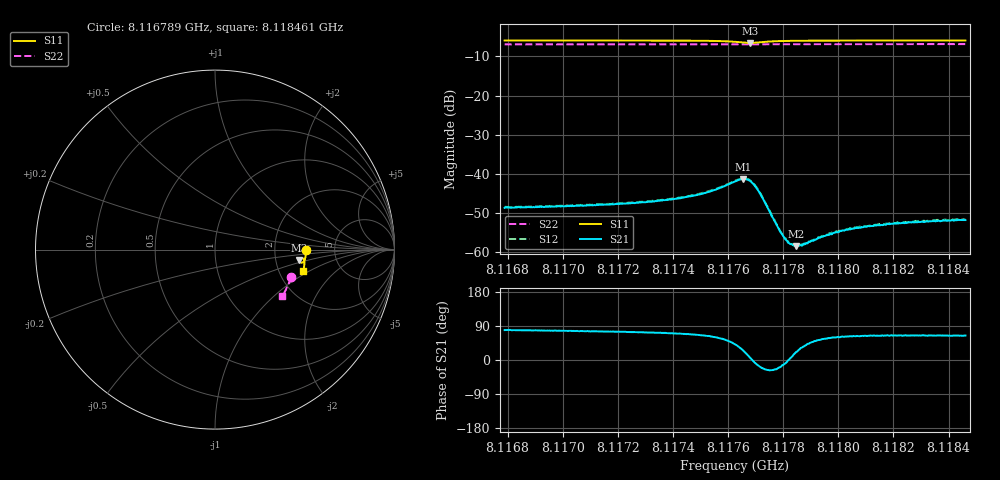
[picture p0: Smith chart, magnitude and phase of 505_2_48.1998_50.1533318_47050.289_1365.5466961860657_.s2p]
#  HZ  S  RI  R  50.00
! Rohde & Schwarz Vector Network Analyzer
! Rohde-Schwarz,ZNB20-2Port,1311601062101988,3.16
! Created: UTC 3/20/2024, 11:58:44 AM
! freq[Hz]  re:S11  im:S11  re:S21  im:S21  re:S12  im:S12  re:S22  im:S22
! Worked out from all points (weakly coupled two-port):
!   401 points, 8.116789 GHz to 8.118461 GHz, reference 50 ohm
!   highest |S21| = -41.29 dB at 8.117655 GHz (marker M1); lowest = -58.4 dB at 8.117847 GHz (marker M2)
!   lowest |S11| = -6.5 dB at 8.11768 GHz (marker M3), VSWR 2.78, Z = 136 - j20.4 ohm
!   |S11| at or under -10 dB: nowhere
!   |S22| runs from -6.9 to -6.8 dB; largest |S21 - S12| = 0.00023
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8.1167895e9  0.5068 0.000288  0.000707 0.00362  0.000748 0.00372  0.4236 -0.1544
8.1170695e9  0.5059 -0.0216  0.000924 0.00383  0.000975 0.00388  0.4172 -0.1729
8.1173495e9  0.5032 -0.045  0.00144 0.00432  0.00147 0.0044  0.4099 -0.1911
8.1174414e9  0.5011 -0.0537  0.00181 0.00468  0.00188 0.00475  0.4074 -0.1972
8.1175041e9  0.4987 -0.0605  0.00232 0.00505  0.00244 0.00515  0.4054 -0.2012
8.1175668e9  0.4934 -0.0681  0.00347 0.00553  0.00354 0.00564  0.4034 -0.2054
8.1176253e9  0.4813 -0.0733  0.00598 0.00534  0.00615 0.00543  0.4011 -0.2089
8.1176546e9  0.4716 -0.069  0.00779 0.00368  0.00796 0.00371  0.4 -0.2103
8.1176797e9  0.468 -0.0583  0.00808 0.000902  0.00826 0.000884  0.3991 -0.2113
8.1176964e9  0.4712 -0.0512  0.00708 -0.000817  0.00725 -0.000804  0.3991 -0.2121
8.1177131e9  0.4774 -0.0473  0.00559 -0.00166  0.00571 -0.00175  0.3988 -0.2128
8.11778e9  0.4941 -0.0534  0.00197 -0.000811  0.00195 -0.000825  0.3975 -0.2175
8.1178009e9  0.4961 -0.0569  0.00156 -0.000352  0.00156 -0.000315  0.3969 -0.2187
8.1178218e9  0.4972 -0.0599  0.00131 2.43e-05  0.00135 3.38e-05  0.3962 -0.2203
8.1178468e9  0.4981 -0.0634  0.00112 0.000426  0.00115 0.000414  0.3955 -0.2219
8.1178761e9  0.4986 -0.067  0.00104 0.000764  0.000999 0.000751  0.3947 -0.2237
8.1179053e9  0.4988 -0.0703  0.000952 0.00104  0.00095 0.00105  0.3937 -0.2256
8.1179764e9  0.4986 -0.0776  0.00087 0.00145  0.000938 0.00152  0.3915 -0.23
8.1180224e9  0.4981 -0.0818  0.000907 0.00166  0.00095 0.00169  0.3898 -0.233
8.118085e9  0.4974 -0.0872  0.00094 0.00188  0.000952 0.0019  0.3876 -0.2368
8.1181854e9  0.4961 -0.0956  0.001 0.00205  0.00104 0.00211  0.3842 -0.243
8.1184612e9  0.4916 -0.1169  0.00111 0.00232  0.00119 0.00234  0.3742 -0.2596
